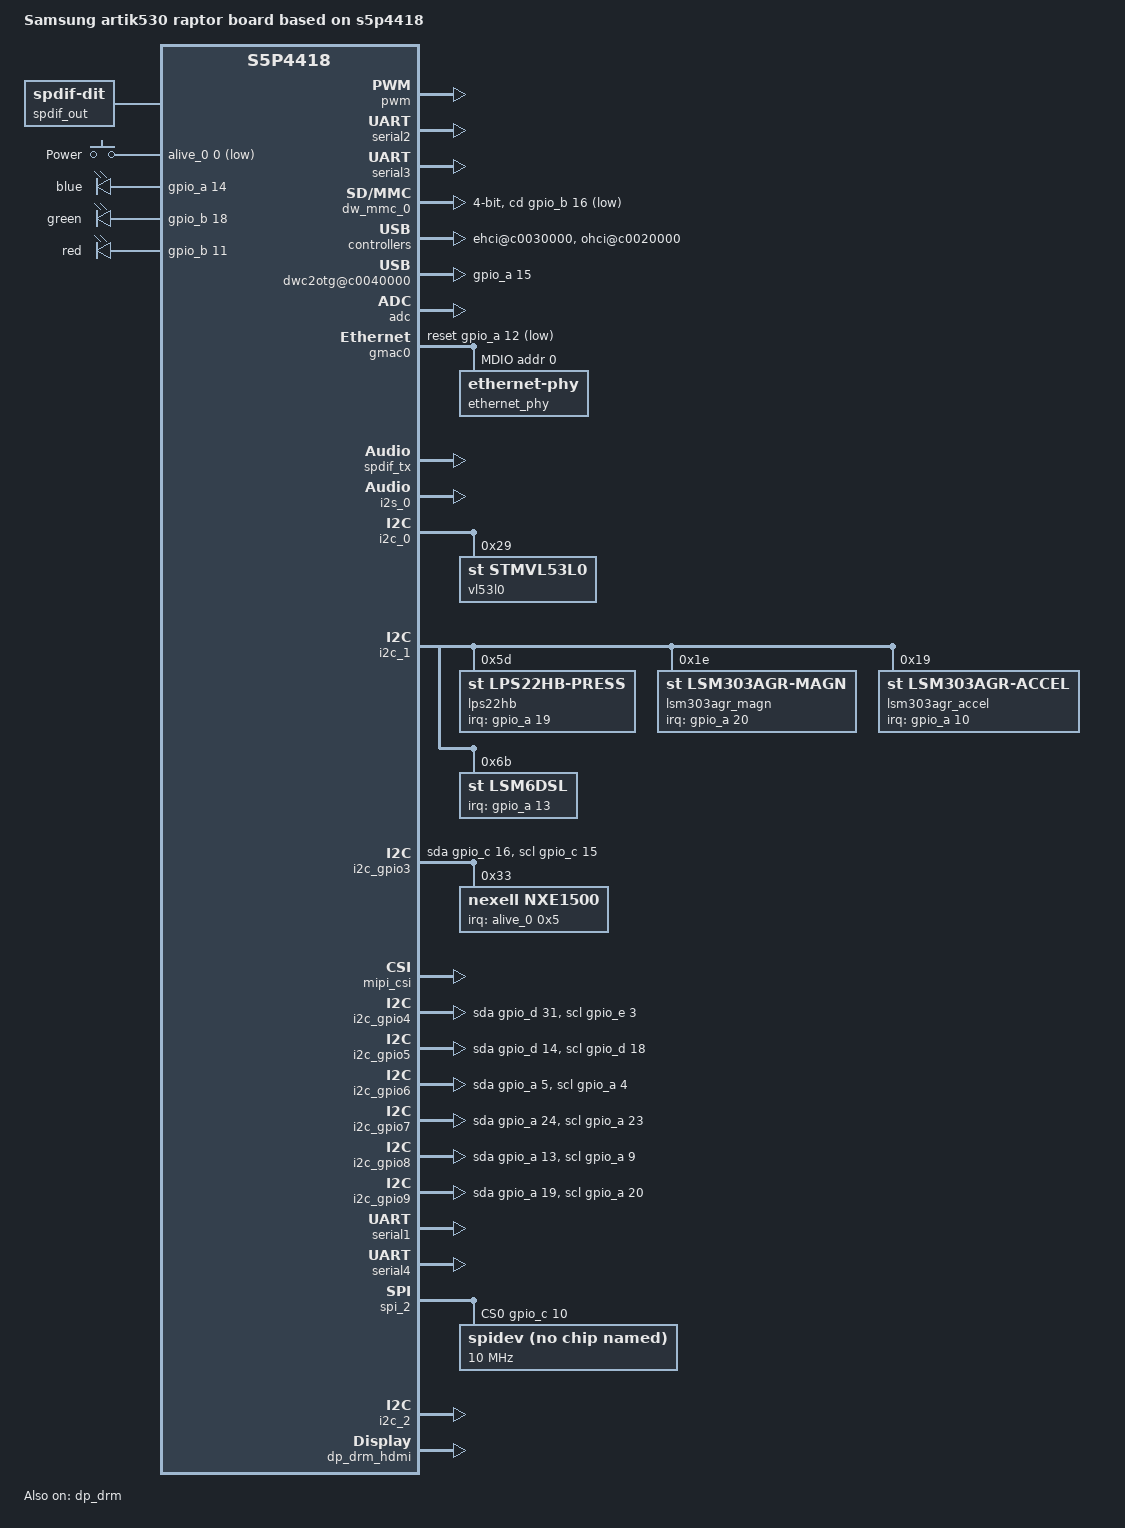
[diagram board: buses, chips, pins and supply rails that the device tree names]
/*
 * Copyright (C) 2016  Nexell Co., Ltd.
 * Author: Youngbok, Park <ybpark@nexell.co.kr>
 *
 * This program is free software; you can redistribute it and/or
 * modify it under the terms of the GNU General Public License
 * as published by the Free Software Foundation; either version 2
 * of the License, or (at your option) any later version.
 *
 * This program is distributed in the hope that it will be useful,
 * but WITHOUT ANY WARRANTY; without even the implied warranty of
 * MERCHANTABILITY or FITNESS FOR A PARTICULAR PURPOSE.  See the
 * GNU General Public License for more details.
 *
 * You should have received a copy of the GNU General Public License
 * along with this program.  If not, see <http://www.gnu.org/licenses/>.
 */

#include <dt-bindings/interrupt-controller/irq.h>
#include <dt-bindings/input/input.h>
#include "s5p4418-artik530.dtsi"

#define PMIC_PDATA_INIT(_id, _rname, _minuv,	\
			_maxuv, _init_uv, _init_enable,		\
			_set_init_uV, _slp_slots)	\
		regulator-name = _rname;		\
		regulator-min-microvolt = <_minuv>;	\
		regulator-max-microvolt = <_maxuv>;	\
		nx,id = <_id>;				\
		nx,init_enable = <_init_enable>;	\
		nx,init_uV = <_init_uv>;		\
		nx,set_init_uV = <_set_init_uV>;	\
		nx,sleep_slots = <_slp_slots>;

/ {
	model = "Samsung artik530 raptor board based on s5p4418";
	compatible = "samsung,artik530-raptor", "samsung,artik530",
		   "nexell,s5p4418";

	psci {
		compatible = "arm,psci-0.2";
		method = "smc";
	};

	aliases {
		i2c1 = &i2c_1;
		i2c3 = &i2c_gpio3;
		i2c4 = &i2c_gpio4;
		i2c5 = &i2c_gpio5;
		i2c6 = &i2c_gpio6;
		i2c7 = &i2c_gpio7;
		i2c8 = &i2c_gpio8;
		i2c9 = &i2c_gpio9;
	};

	nx-v4l2 {
		status = "okay";
	};

	soc {

		clocks {
			vip0:vip@c00c1000 { clock-frequency = <300000000>;};
			i2c0:i2c@c00ae000 { clock-frequency = <200000000>;};
			i2c1:i2c@c00af000 { clock-frequency = <200000000>;};
			i2c2:i2c@c00b0000 { clock-frequency = <200000000>;};
			pwm0:pwm0@c00ba000 {
				clk-input = <I_PLL2>;
				clock-frequency = <10000000>;
			};
			pwm1:pwm1@c00ba000 {
				clk-input = <I_PLL2>;
				clock-frequency = <10000000>;
			};
			pwm2:pwm2@c00be000 {
				clk-input = <I_PLL2>;
				clock-frequency = <10000000>;
			};
			pwm3:pwm3@c00be000 {
				clk-input = <I_PLL2>;
				clock-frequency = <10000000>;
			};
		};

		timer@c0017000 {
			clocks =  <&timer0>, <&timer1>;
			clock-names = "timer0", "timer1";
		};

		pwm:pwm@c0018000 {
			clocks =  <&pwm0>, <&pwm1>, <&pwm2>, <&pwm3>;
			clock-names = "pwm-tclk0", "pwm-tclk1", "pwm-tclk2", "pwm-tclk3";
		};

		dynamic-freq@bb000 {
			supply_name = "vdd_core_regulator";
			vdd_core_regulator-supply = <&VCC_DCDC0>;
		};

		serial2:serial@c00a2000 {
			status ="okay";
		};

		serial3:serial@c00a3000 {
			status ="okay";
		};

		dw_mmc_0:dw_mmc@c0062000 {
			num-slots = <1>;
			bus-width = <4>;
			cap-sd-highspeed;
			clock-frequency = <100000000>;
			card-detect-delay = <200>;
			disable-wp;
			cd-gpios = <&gpio_b 16 0>;
			cd-inverted;
			nexell,drive_dly = <0x0>;
			nexell,drive_shift = <0x02>;
			nexell,sample_dly = <0x00>;
			nexell,sample_shift = <0x01>;
			status = "okay";
		};

		nexell_usbphy: nexell-usbphy@c0012000 {
			status = "okay";
		};

		ehci@c0030000 {
			samsung,vbus-gpio = <&gpio_a 16 0>;
			status = "okay";
			port@0 {
				status = "okay";
			};
			port@1 {
				status = "okay";
			};
		};

		ohci@c0020000 {
			status = "okay";
			port@0 {
				status = "okay";
			};
		};

		dwc2otg@c0040000 {
			gpios = <&gpio_a 15 0>;
			status = "okay";
		};

		pinctrl@C0010000 {
			key_pwr:key_pwr {
				nexell,pins = "alive-0";
				nexell,pin-function = <0>;
				nexell,pin-pull = <1>;
				nexell,pin-strength = <0>;
			};

			pmic_irq:pmic_irq{
				nexell,pins = "alive-5";
				nexell,pin-function = <0>;
				nexell,pin-pull = <1>;
				nexell,pin-strength = <0>;
			};

			touchpanel_irq: touchpanel-irq {
				nexell,pins = "gpiob-22";
				nexell,pin-function = <1>;
				nexell,pin-pull = <1>;
				nexell,pin-strength = <0>;
			};

			tsp_irq: tsp-irq {
				nexell,pins = "gpiob-8";
				nexell,pin-function = <0>;
				nexell,pin-pull = <1>;
				nexell,pin-strength = <0>;
			};

			tsp_reset: tsp-reset {
				nexell,pins = "gpioc-25";
				nexell,pin-function = <0>;
				nexell,pin-pull = <1>;
				nexell,pin-strength = <0>;
			};
		};

		adc:adc@c0053000 {
			status = "okay";
		};

		gmac0:ethernet@c0060000 {
			pinctrl-names = "default";
			pinctrl-0 = <&gmac_pins>;

			status = "okay";
			#address-cells = <0x1>;
			#size-cells = <0x0>;

			snps,phy-addr = <0>;
			snps,reset-gpio = <&gpio_a 12 0>;
			snps,reset-active-low;
			snps,reset-delays-us = <0 10000 30000>;

			boost-busfreq;
			boost-busfreq-timeout = <100000>;

			mdio {
				#address-cells = <1>;
				#size-cells = <0>;

				ethernet_phy: ethernet-phy@0 {
					reg = <0>;
					fixed-link {
						speed = <100>;
						full-duplex;
					};
				};
			};
		};

		watchdog@c0019000 {
			status = "okay";
		};

		spdif_tx: spdiftx@c0059000 {
			#sound-dai-cells = <1>;
			pcm-bit = <16>;
			sample_rate = <48000>;
			status = "okay";
		};

		i2s_0:i2s@c0055000 {
			#sound-dai-cells = <1>;
			master-mode = <1>;
			mclk-in = <0>;
			trans-mode = <0>;
			frame-bit = <32>;
			sample-rate = <48000>;
			pre-supply-mclk = <1>;
			status = "okay";
		};

		i2c_0:i2c@c00a4000 {
			status = "okay";
			#address-cells = <1>;
			#size-cells = <0>;
			rate = <400000>;

			vl53l0@29 {
				compatible = "st,stmvl53l0";
				reg = <0x29>;
			};


		};

		i2c_1:i2c@c00a5000 {
			status = "okay";
			#address-cells = <1>;
			#size-cells = <0>;
			rate = <400000>;

			lps22hb@5d {
				compatible = "st,lps22hb-press";
				reg = <0x5d>;
				st,drdy-int-pin = <1>;
				interrupt-parent = <&gpio_a>;
				interrupts = <19 IRQ_TYPE_EDGE_RISING>;
			};

			lsm303agr_magn@1e {
				compatible = "st,lsm303agr-magn";
				reg = <0x1e>;
				st,drdy-int-pin = <1>;
				interrupt-parent = <&gpio_a>;
				interrupts = <20 IRQ_TYPE_EDGE_RISING>;
			};

			lsm303agr_accel@19 {
				compatible = "st,lsm303agr-accel";
				reg = <0x19>;
				st,drdy-int-pin = <1>;
				interrupt-parent = <&gpio_a>;
				interrupts = <10 IRQ_TYPE_EDGE_RISING>;
			};

			lsm6dsl@6b {
				compatible = "st,lsm6dsl";
				reg = <0x6b>;
				st,drdy-int-pin = <2>;
				interrupt-parent = <&gpio_a>;
				interrupts = <13 IRQ_TYPE_EDGE_RISING>, <9 IRQ_TYPE_EDGE_RISING>;
			};


		};

		i2c_gpio3: i2c@3 {
			compatible = "i2c-gpio";
			gpios = <&gpio_c 16 0	/* SDA */
					&gpio_c 15 0		/* SCL */
					>;
			#address-cells = <1>;
			#size-cells = <0>;
			status = "okay";


			nxe1500@33 {
				compatible = "nexell,nxe1500";
				reg = <0x33>;
				interrupt-parent = <&alive_0>;
				interrupts = <0x5 IRQ_TYPE_EDGE_FALLING>;
				pinctrl-names = "default";
				pinctrl-0 = <&pmic_irq>;
			};

		};

		vip_0:vip@c0063000 {
			status = "okay";
		};

		mipi_csi:mipi_csi@c00d0000 {
			data_lane = <2>;
			pllval = <750>;
			hssettle = <7>;
			/* hssettle = <6>; */
			status = "okay";
		};

		clipper_0:clipper0@c0063000 {
			interface_type = <NX_CAPTURE_INTERFACE_MIPI_CSI>;
			gpios = <&gpio_a 17 0 &gpio_a 3 0 &gpio_a 6 0>;
			data_order = <NX_VIN_Y0CBY1CR>;
			status = "okay";
			sensor {
				type = <NX_CAPTURE_SENSOR_I2C>;
				i2c_name = "S5K4ECGA";
				i2c_adapter = <0>;
				addr = <0x56>;
			};
			power {
				enable_seq = <
					NX_ACTION_START NX_ACTION_TYPE_GPIO 2 1 2 NX_ACTION_END
					NX_ACTION_START NX_ACTION_TYPE_GPIO 1 1 1 NX_ACTION_END
					NX_ACTION_START NX_ACTION_TYPE_GPIO 0 1 1 NX_ACTION_END
					>;

				disable_seq = <
					NX_ACTION_START NX_ACTION_TYPE_GPIO 0 0 1 NX_ACTION_END
					NX_ACTION_START NX_ACTION_TYPE_GPIO 1 0 1 NX_ACTION_END
					NX_ACTION_START NX_ACTION_TYPE_GPIO 2 0 2 NX_ACTION_END
				>;
			};
		};

		scaler@c0066000 {
			status = "okay";
		};

		video-codec@c0080000 {
			status = "okay";
			sram = <0 0>;
		};
	};	/*** soc ***/


	i2c_gpio4: i2c@4 {
		compatible = "i2c-gpio";
		gpios = <&gpio_d 31 0	/* SDA */
			&gpio_e 3 0	/* SCL */
			>;
		#address-cells = <1>;
		#size-cells = <0>;
		i2c-gpio,delay-us = <100>;
		status = "okay";

	};

	i2c_gpio5: i2c@5 {
		compatible = "i2c-gpio";
		gpios = <&gpio_d 14 0	/* sda */
			&gpio_d 18 0	/* scl */
			>;
		i2c-gpio,delay-us = <10>;
		#address-cells = <1>;
		#size-cells = <0>;


	};

	i2c_gpio6:i2c@6 {
		compatible = "i2c-gpio";
		gpios = <&gpio_a 5 0 /* sda */
			&gpio_a 4 0 /* scl */
			>;
		i2c-gpio,delay-us = <1>;
		#address-cells = <1>;
		#size-cells = <0>;

	};

	i2c_gpio7:i2c@7 {
		compatible = "i2c-gpio";
		gpios = <&gpio_a 24 0 /* sda */
			&gpio_a 23 0 /* scl */
			>;
		i2c-gpio,delay-us = <100>;
		#address-cells = <1>;
		#size-cells = <0>;
	};

	i2c_gpio8: i2c@8 {
		compatible = "i2c-gpio";
		gpios = <&gpio_a 13 0	/* sda */
			&gpio_a 9 0		/* scl */
			>;
		i2c-gpio,delay-us = <1>;	/* ~100kHz */
		#address-cells = <1>;
		#size-cells = <0>;
		status = "okay";

	};

	i2c_gpio9: i2c@9 {
		compatible = "i2c-gpio";
		gpios = <&gpio_a 19 0	/* sda */
			&gpio_a 20 0	/* scl */
			>;
		i2c-gpio,delay-us = <1>;	/* ~100kHz */
		#address-cells = <1>;
		#size-cells = <0>;
		status = "okay";

	};

	sound {
		compatible = "simple-audio-card";
		simple-audio-card,name = "Artik530 raptor Audio";
		simple-audio-card,mclk-fs = <256>;
		status = "okay";

		simple-audio-card,dai-link@0 {
		    cpu {
			sound-dai = <&spdif_tx 0>;
		    };

		    codec {
			sound-dai = <&spdif_out>;
		    };
		};
	};


	spdif_out: spdif-out {
		#sound-dai-cells = <0>;
		compatible = "linux,spdif-dit";
	};

	gpio_keys {
		compatible = "gpio-keys";
		#address-cells = <1>;
		#size-cells = <0>;
		pinctrl-names = "default";
		pinctrl-0 = <&key_pwr>;

		power {
			label = "Power";
			gpios = <&alive_0 0 1>;
			linux,code = <KEY_POWER>;
			gpio-key,wakeup;
		};

	};

	regulators {
		VCC_DCDC0:dcdc1
				{ PMIC_PDATA_INIT( 0,
				"nxe2000_dcdc1",
				900000, 1500000,
				1250000, 1, 0, 0x4)
				regulator-always-on;
				regulator-boot-on;};
		VCC_DCDC1:dcdc2
				{ PMIC_PDATA_INIT( 1,
				"nxe2000_dcdc2",
				1000000, 1500000,
				1100000, 1, 0, 0x4)
				regulator-always-on;
				regulator-boot-on;};
		VCC_DCDC2:dcdc3
				{ PMIC_PDATA_INIT( 2,
				"nxe2000_dcdc3",
				1000000, 1800000,
				1500000, 1, 0, 0x4)
				regulator-always-on;
				regulator-boot-on;};
		VCC_DCDC3:dcdc4
				{ PMIC_PDATA_INIT( 3,
				"nxe2000_dcdc4",
				1000000, 1800000,
				1500000, 1, 0, 0xF)
				regulator-always-on;
				regulator-boot-on;};
		VCC_LDO0:ldo1
				{ PMIC_PDATA_INIT( 5,
				"nxe2000_ldo1",
				1000000, 3500000,
				3300000, 1, 1, 0x0)
				regulator-always-on;
				regulator-boot-on;};
		VCC_LDO1:ldo2
				{ PMIC_PDATA_INIT( 6,
				"nxe2000_ldo2",
				1000000, 3500000,
				1800000, 1, 1, 0x2)
				regulator-always-on;
				regulator-boot-on;};
		VCC_LDO2:ldo3
				{ PMIC_PDATA_INIT( 7,
				"nxe2000_ldo3",
				1000000, 3500000,
				3300000, 1, 1, 0x0)
				regulator-always-on;
				regulator-boot-on;};
		VCC_LDO3:ldo4
				{ PMIC_PDATA_INIT( 8,
				"nxe2000_ldo4",
				1000000, 3500000,
				1200000, 0, 1, 0x2)
				regulator-always-on;
				regulator-boot-on;};
		VCC_LDO4:ldo5
				{ PMIC_PDATA_INIT( 9,
				"nxe2000_ldo5",
				1000000, 3500000,
				3300000, 0, 1, 0x0)};
		VCC_RTC0:ldortc1
				{ PMIC_PDATA_INIT(15,
				"nxe2000_rtc1",
				1700000, 3500000,
				1800000, 1, 1, 0xF)
				regulator-always-on;
				regulator-boot-on;};
		VCC_RTC1:ldortc2
				{ PMIC_PDATA_INIT(16,
				"nxe2000_rtc2",
				1000000, 3500000,
				1000000, 1, 1, 0xF)
				regulator-always-on;
				regulator-boot-on;};
	}; /* regulators */

	nx-devfreq {
		pll = <3>;
		supply_name = "vdd_arm_regulator";
		vdd_arm_regulator-supply = <&VCC_DCDC1>;
		status = "okay";
	};

	leds {
		compatible = "gpio-leds";
		status = "okay";

		blue {
			gpios = <&gpio_a 14 0>;
			default-state = "off";
		};
	
		green {
			gpios = <&gpio_b 18 0>;
			default-state = "off";
		};
	
		red {
			gpios = <&gpio_b 11 0>;
			default-state = "off";
		};
	};
};

&pwm {
	pinctrl-names = "default";
	pinctrl-0 = <&pwm0_pin &pwm2_pin>;
	samsung,pwm-outputs = <0>, <2>;
	status = "okay";
};

&serial1 {
	status = "okay";
	pinctrl-0 = <&serial1_pin>, <&serial1_flow_cts>, <&serial1_flow_rts>;
};

&serial4 {
	status = "okay";
};

&spi_2 {
	status = "okay";
	cs-gpios = <&gpio_c 10 0>;
	spidev@0 {
		compatible = "linux,spidev";
		reg = <0>;
		spi-max-frequency = <10000000>;
		controller-data {
			samsung,spi-feedback-delay = <0>;
		};
	};
};

&i2c_2 {
	#address-cells = <1>;
	#size-cells = <0>;
	status = "okay";

};

&dp_drm {
	status = "okay";
	ports {
		port@0 {
			reg = <0>;
			back_color = < 0x0 >;
			color_key = < 0x0 >;
			plane-names = "video", "primary", "rgb";
		};
		port@1 {
			reg = <1>;
			back_color = < 0x0 >;
			color_key = < 0x0 >;
			plane-names = "video", "primary";
		};
	};
};

&dp_drm_mipi {
	hs_bitrate = <960>;
	lp_bitrate = <100>;
	status = "disabled";


};

&dp_drm_hdmi {
	ddc-i2c-bus = <&i2c_gpio7>;
	enable-gpios = <&gpio_a 21 0>;
	status = "ok";
};

&dp_drm_lvds {
	status = "disabled";

};
